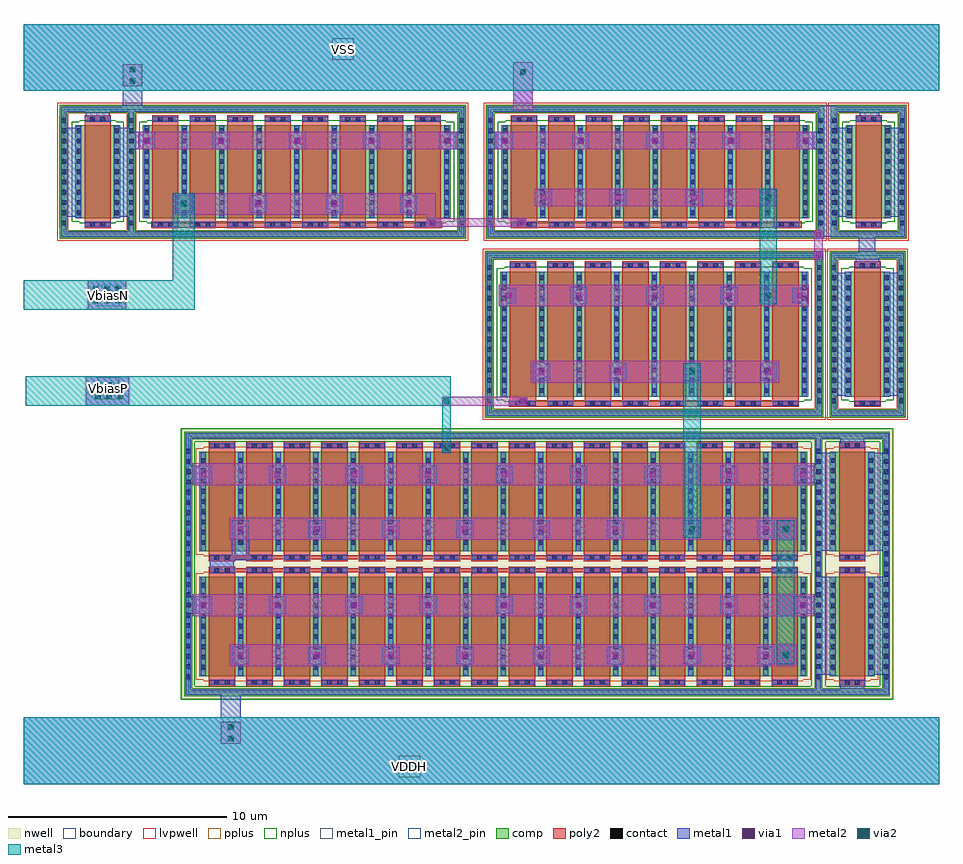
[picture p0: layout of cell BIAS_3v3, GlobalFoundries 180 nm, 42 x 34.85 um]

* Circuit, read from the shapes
.subckt BIAS_3v3 VDDH VSS VbiasN VbiasP
XM1 VSS VSS VSS VSS nfet_03v3 w=4.25u l=1.2u m=2
XM2 VbiasN VbiasN VSS VSS nfet_03v3 w=4.25u l=1.2u m=8
XM3 VbiasP VbiasP n1 VSS nfet_03v3 w=5.75u l=1.2u m=8
XM4 n1 VbiasN VSS VSS nfet_03v3 w=4.25u l=1.2u m=8
XM5 VSS VSS VSS VSS nfet_03v3 w=5.75u l=1.2u
XM6 VbiasP VbiasP VDDH VDDH pfet_03v3 w=4.56u l=1.2u m=32
XM7 VDDH VDDH VDDH VDDH pfet_03v3 w=4.56u l=1.2u m=2
.ends

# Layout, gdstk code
import gdstk
lib = gdstk.Library(unit=1e-6, precision=1e-09)
def R(c, l, rs):  # rectangles x0, y0, x1, y1
    for r in rs: c.add(gdstk.rectangle(r[:2], r[2:], *l))
def A(c, l, x, y, w, h, nx, ny, dx, dy):  # array of equal rectangles
    R(c, l, [(x+i*dx, y+j*dy, x+i*dx+w, y+j*dy+h) for i in range(nx) for j in range(ny)])
boundary = (0, 0)
nwell = (21, 0)
comp = (22, 0)
poly2 = (30, 0)
pplus = (31, 0)
nplus = (32, 0)
contact = (33, 0)
metal1 = (34, 0)
metal1_pin = (34, 10)
via1 = (35, 0)
metal2 = (36, 0)
metal2_pin = (36, 10)
via2 = (38, 0)
metal3 = (42, 0)
lvpwell = (204, 0)

nfet_03v3_w7xh28 = lib.new_cell('nfet_03v3_W7XH28')
R(nfet_03v3_w7xh28, boundary, [(-1.55,-3.625,1.55,3.625)])
R(nfet_03v3_w7xh28, comp, [(-1.73,-3.805,1.73,-3.445), (-1.73,-3.445,-1.37,3.445), (1.37,-3.445,1.73,3.445), (-1.04,-2.875,1.04,2.875), (-1.73,3.445,1.73,3.805)])
R(nfet_03v3_w7xh28, poly2, [(-0.6,-3.335,0.6,3.335)])
R(nfet_03v3_w7xh28, pplus, [(-1.75,-3.825,1.75,-3.425), (-1.75,-3.425,-1.34,-3.32), (1.34,-3.425,1.75,-3.32), (-1.76,-3.32,-1.34,3.32), (1.34,-3.32,1.76,3.32), (-1.75,3.32,-1.34,3.425), (1.34,3.32,1.75,3.425), (-1.75,3.425,1.75,3.825)])
R(nfet_03v3_w7xh28, nplus, [(-0.83,-3.105,0.83,-3.035), (-1.2,-3.035,1.2,3.035), (-0.83,3.035,0.83,3.105)])
A(nfet_03v3_w7xh28, contact, -1.66, -3.165, 0.22, 0.22, 1, 14, 0, 0.47)
A(nfet_03v3_w7xh28, contact, 1.44, -3.165, 0.22, 0.22, 1, 14, 0, 0.47)
A(nfet_03v3_w7xh28, contact, -0.97, -2.695, 0.22, 0.22, 1, 12, 0, 0.47)
A(nfet_03v3_w7xh28, contact, 0.75, -2.695, 0.22, 0.22, 1, 12, 0, 0.47)
R(nfet_03v3_w7xh28, contact, [(-0.345,-3.265,-0.125,-3.045), (0.125,-3.265,0.345,-3.045), (-0.345,3.045,-0.125,3.265), (0.125,3.045,0.345,3.265)])
R(nfet_03v3_w7xh28, metal1, [(-1.665,-3.74,1.665,-3.51), (-1.665,-3.51,-1.435,3.51), (1.435,-3.51,1.665,3.51), (-0.59,-3.27,0.59,-3.04), (-0.975,-2.865,-0.745,2.865), (0.745,-2.865,0.975,2.865), (-0.59,3.04,0.59,3.27), (-1.665,3.51,1.665,3.74)])
R(nfet_03v3_w7xh28, lvpwell, [(-1.85,-3.925,1.85,3.925)])

pfet_03v3_nfmjs6 = lib.new_cell('pfet_03v3_NFMJS6')
R(pfet_03v3_nfmjs6, boundary, [(-1.55,-5.89,1.55,5.89)])
R(pfet_03v3_nfmjs6, nwell, [(-1.85,-6.19,1.85,6.19)])
R(pfet_03v3_nfmjs6, comp, [(-1.73,-6.07,1.73,-5.71), (-1.73,-5.71,-1.37,5.71), (1.37,-5.71,1.73,5.71), (-1.04,-5.14,1.04,-0.58), (-1.04,0.58,1.04,5.14), (-1.73,5.71,1.73,6.07)])
R(pfet_03v3_nfmjs6, poly2, [(-0.6,-5.6,0.6,-0.12), (-0.6,0.12,0.6,5.6)])
R(pfet_03v3_nfmjs6, pplus, [(-0.83,-5.37,0.83,-5.3), (-1.2,-5.3,1.2,-0.42), (-0.83,-0.42,0.83,-0.35), (-0.83,0.35,0.83,0.42), (-1.2,0.42,1.2,5.3), (-0.83,5.3,0.83,5.37)])
R(pfet_03v3_nfmjs6, nplus, [(-1.89,-6.23,1.89,-5.6), (-1.89,-5.6,-1.26,5.6), (1.26,-5.6,1.89,5.6), (-1.89,5.6,1.89,6.23)])
A(pfet_03v3_nfmjs6, contact, -1.66, -5.28, 0.22, 0.22, 1, 23, 0, 0.47)
A(pfet_03v3_nfmjs6, contact, 1.44, -5.28, 0.22, 0.22, 1, 23, 0, 0.47)
A(pfet_03v3_nfmjs6, contact, -0.97, -4.85, 0.22, 0.22, 1, 9, 0, 0.47)
A(pfet_03v3_nfmjs6, contact, 0.75, -4.85, 0.22, 0.22, 1, 9, 0, 0.47)
A(pfet_03v3_nfmjs6, contact, -0.97, 0.87, 0.22, 0.22, 1, 9, 0, 0.47)
A(pfet_03v3_nfmjs6, contact, 0.75, 0.87, 0.22, 0.22, 1, 9, 0, 0.47)
R(pfet_03v3_nfmjs6, contact, [(-0.345,-5.53,-0.125,-5.31), (0.125,-5.53,0.345,-5.31), (-0.345,-0.41,-0.125,-0.19), (0.125,-0.41,0.345,-0.19), (-0.345,0.19,-0.125,0.41), (0.125,0.19,0.345,0.41), (-0.345,5.31,-0.125,5.53), (0.125,5.31,0.345,5.53)])
R(pfet_03v3_nfmjs6, metal1, [(-1.665,-6.005,1.665,-5.775), (-1.665,-5.775,-1.435,5.775), (1.435,-5.775,1.665,5.775), (-0.59,-5.535,0.59,-5.305), (-0.975,-5.13,-0.745,-0.59), (0.745,-5.13,0.975,-0.59), (-0.59,-0.415,0.59,-0.185), (-0.59,0.185,0.59,0.415), (-0.975,0.59,-0.745,5.13), (0.745,0.59,0.975,5.13), (-0.59,5.305,0.59,5.535), (-1.665,5.775,1.665,6.005)])

nfet_03v3_nvcl9g_1 = lib.new_cell('nfet_03v3_NVCL9G_1')
R(nfet_03v3_nvcl9g_1, boundary, [(-1.55,-2.875,1.55,2.875)])
R(nfet_03v3_nvcl9g_1, comp, [(-1.73,-3.055,1.73,-2.695), (-1.73,-2.695,-1.37,2.695), (1.37,-2.695,1.73,2.695), (-1.04,-2.125,1.04,2.125), (-1.73,2.695,1.73,3.055)])
R(nfet_03v3_nvcl9g_1, poly2, [(-0.6,-2.585,0.6,2.585)])
R(nfet_03v3_nvcl9g_1, pplus, [(-1.75,-3.075,1.75,-2.675), (-1.75,-2.675,-1.34,-2.57), (1.34,-2.675,1.75,-2.57), (-1.76,-2.57,-1.34,2.57), (1.34,-2.57,1.76,2.57), (-1.75,2.57,-1.34,2.675), (1.34,2.57,1.75,2.675), (-1.75,2.675,1.75,3.075)])
R(nfet_03v3_nvcl9g_1, nplus, [(-0.83,-2.355,0.83,-2.285), (-1.2,-2.285,1.2,2.285), (-0.83,2.285,0.83,2.355)])
A(nfet_03v3_nvcl9g_1, contact, -1.66, -2.46, 0.22, 0.22, 1, 11, 0, 0.47)
A(nfet_03v3_nvcl9g_1, contact, 1.44, -2.46, 0.22, 0.22, 1, 11, 0, 0.47)
A(nfet_03v3_nvcl9g_1, contact, -0.97, -1.99, 0.22, 0.22, 1, 9, 0, 0.47)
A(nfet_03v3_nvcl9g_1, contact, 0.75, -1.99, 0.22, 0.22, 1, 9, 0, 0.47)
R(nfet_03v3_nvcl9g_1, contact, [(-0.345,-2.515,-0.125,-2.295), (0.125,-2.515,0.345,-2.295), (-0.345,2.295,-0.125,2.515), (0.125,2.295,0.345,2.515)])
R(nfet_03v3_nvcl9g_1, metal1, [(-1.665,-2.99,1.665,-2.76), (-1.665,-2.76,-1.435,2.76), (1.435,-2.76,1.665,2.76), (-0.59,-2.52,0.59,-2.29), (-0.975,-2.115,-0.745,2.115), (0.745,-2.115,0.975,2.115), (-0.59,2.29,0.59,2.52), (-1.665,2.76,1.665,2.99)])
R(nfet_03v3_nvcl9g_1, lvpwell, [(-1.85,-3.175,1.85,3.175)])

nfet_03v3_nvcl9g_0 = lib.new_cell('nfet_03v3_NVCL9G_0')
R(nfet_03v3_nvcl9g_0, boundary, [(-1.55,-2.875,1.55,2.875)])
R(nfet_03v3_nvcl9g_0, comp, [(-1.73,-3.055,1.73,-2.695), (-1.73,-2.695,-1.37,2.695), (1.37,-2.695,1.73,2.695), (-1.04,-2.125,1.04,2.125), (-1.73,2.695,1.73,3.055)])
R(nfet_03v3_nvcl9g_0, poly2, [(-0.6,-2.585,0.6,2.585)])
R(nfet_03v3_nvcl9g_0, pplus, [(-1.75,-3.075,1.75,-2.675), (-1.75,-2.675,-1.34,-2.57), (1.34,-2.675,1.75,-2.57), (-1.76,-2.57,-1.34,2.57), (1.34,-2.57,1.76,2.57), (-1.75,2.57,-1.34,2.675), (1.34,2.57,1.75,2.675), (-1.75,2.675,1.75,3.075)])
R(nfet_03v3_nvcl9g_0, nplus, [(-0.83,-2.355,0.83,-2.285), (-1.2,-2.285,1.2,2.285), (-0.83,2.285,0.83,2.355)])
A(nfet_03v3_nvcl9g_0, contact, -1.66, -2.46, 0.22, 0.22, 1, 11, 0, 0.47)
A(nfet_03v3_nvcl9g_0, contact, 1.44, -2.46, 0.22, 0.22, 1, 11, 0, 0.47)
A(nfet_03v3_nvcl9g_0, contact, -0.97, -1.99, 0.22, 0.22, 1, 9, 0, 0.47)
A(nfet_03v3_nvcl9g_0, contact, 0.75, -1.99, 0.22, 0.22, 1, 9, 0, 0.47)
R(nfet_03v3_nvcl9g_0, contact, [(-0.345,-2.515,-0.125,-2.295), (0.125,-2.515,0.345,-2.295), (-0.345,2.295,-0.125,2.515), (0.125,2.295,0.345,2.515)])
R(nfet_03v3_nvcl9g_0, metal1, [(-1.665,-2.99,1.665,-2.76), (-1.665,-2.76,-1.435,2.76), (1.435,-2.76,1.665,2.76), (-0.59,-2.52,0.59,-2.29), (-0.975,-2.115,-0.745,2.115), (0.745,-2.115,0.975,2.115), (-0.59,2.29,0.59,2.52), (-1.665,2.76,1.665,2.99)])
R(nfet_03v3_nvcl9g_0, lvpwell, [(-1.85,-3.175,1.85,3.175)])

pfet_03v3_e7ryub = lib.new_cell('pfet_03v3_E7RYUB')
R(pfet_03v3_e7ryub, boundary, [(-14.45,-5.89,14.45,5.89)])
R(pfet_03v3_e7ryub, nwell, [(-14.75,-6.19,14.75,6.19)])
R(pfet_03v3_e7ryub, comp, [(-14.63,-6.07,14.63,-5.71), (-14.63,-5.71,-14.27,5.71), (14.27,-5.71,14.63,5.71), (-13.94,-5.14,13.94,-0.58), (-13.94,0.58,13.94,5.14), (-14.63,5.71,14.63,6.07)])
A(pfet_03v3_e7ryub, poly2, -13.5, -5.6, 1.2, 5.48, 16, 2, 1.72, 5.72)
R(pfet_03v3_e7ryub, pplus, [(-13.73,-5.37,13.73,-5.3), (-14.1,-5.3,14.1,-0.42), (-13.73,-0.42,13.73,-0.35), (-13.73,0.35,13.73,0.42), (-14.1,0.42,14.1,5.3), (-13.73,5.3,13.73,5.37)])
R(pfet_03v3_e7ryub, nplus, [(-14.79,-6.23,14.79,-5.6), (-14.79,-5.6,-14.16,5.6), (14.16,-5.6,14.79,5.6), (-14.79,5.6,14.79,6.23)])
A(pfet_03v3_e7ryub, contact, -14.56, -5.28, 0.22, 0.22, 1, 23, 0, 0.47)
A(pfet_03v3_e7ryub, contact, 14.34, -5.28, 0.22, 0.22, 1, 23, 0, 0.47)
A(pfet_03v3_e7ryub, contact, -13.87, -4.85, 0.22, 0.22, 17, 9, 1.72, 0.47)
A(pfet_03v3_e7ryub, contact, -13.87, 0.87, 0.22, 0.22, 17, 9, 1.72, 0.47)
R(pfet_03v3_e7ryub, contact, [(-13.245,-5.53,-13.025,-5.31), (-12.775,-5.53,-12.555,-5.31), (-11.525,-5.53,-11.305,-5.31), (-11.055,-5.53,-10.835,-5.31), (-9.805,-5.53,-9.585,-5.31), (-9.335,-5.53,-9.115,-5.31), (-8.085,-5.53,-7.865,-5.31), (-7.615,-5.53,-7.395,-5.31), (-6.365,-5.53,-6.145,-5.31), (-5.895,-5.53,-5.675,-5.31), (-4.645,-5.53,-4.425,-5.31), (-4.175,-5.53,-3.955,-5.31), (-2.925,-5.53,-2.705,-5.31), (-2.455,-5.53,-2.235,-5.31), (-1.205,-5.53,-0.985,-5.31), (-0.735,-5.53,-0.515,-5.31), (0.515,-5.53,0.735,-5.31), (0.985,-5.53,1.205,-5.31), (2.235,-5.53,2.455,-5.31), (2.705,-5.53,2.925,-5.31), (3.955,-5.53,4.175,-5.31), (4.425,-5.53,4.645,-5.31), (5.675,-5.53,5.895,-5.31), (6.145,-5.53,6.365,-5.31), (7.395,-5.53,7.615,-5.31), (7.865,-5.53,8.085,-5.31), (9.115,-5.53,9.335,-5.31), (9.585,-5.53,9.805,-5.31), (10.835,-5.53,11.055,-5.31), (11.305,-5.53,11.525,-5.31), (12.555,-5.53,12.775,-5.31), (13.025,-5.53,13.245,-5.31), (-13.245,-0.41,-13.025,-0.19), (-12.775,-0.41,-12.555,-0.19), (-11.525,-0.41,-11.305,-0.19), (-11.055,-0.41,-10.835,-0.19), (-9.805,-0.41,-9.585,-0.19), (-9.335,-0.41,-9.115,-0.19), (-8.085,-0.41,-7.865,-0.19), (-7.615,-0.41,-7.395,-0.19), (-6.365,-0.41,-6.145,-0.19), (-5.895,-0.41,-5.675,-0.19), (-4.645,-0.41,-4.425,-0.19), (-4.175,-0.41,-3.955,-0.19), (-2.925,-0.41,-2.705,-0.19), (-2.455,-0.41,-2.235,-0.19), (-1.205,-0.41,-0.985,-0.19), (-0.735,-0.41,-0.515,-0.19), (0.515,-0.41,0.735,-0.19), (0.985,-0.41,1.205,-0.19), (2.235,-0.41,2.455,-0.19), (2.705,-0.41,2.925,-0.19), (3.955,-0.41,4.175,-0.19), (4.425,-0.41,4.645,-0.19), (5.675,-0.41,5.895,-0.19), (6.145,-0.41,6.365,-0.19), (7.395,-0.41,7.615,-0.19), (7.865,-0.41,8.085,-0.19), (9.115,-0.41,9.335,-0.19), (9.585,-0.41,9.805,-0.19), (10.835,-0.41,11.055,-0.19), (11.305,-0.41,11.525,-0.19), (12.555,-0.41,12.775,-0.19), (13.025,-0.41,13.245,-0.19), (-13.245,0.19,-13.025,0.41), (-12.775,0.19,-12.555,0.41), (-11.525,0.19,-11.305,0.41), (-11.055,0.19,-10.835,0.41), (-9.805,0.19,-9.585,0.41), (-9.335,0.19,-9.115,0.41), (-8.085,0.19,-7.865,0.41), (-7.615,0.19,-7.395,0.41), (-6.365,0.19,-6.145,0.41), (-5.895,0.19,-5.675,0.41), (-4.645,0.19,-4.425,0.41), (-4.175,0.19,-3.955,0.41), (-2.925,0.19,-2.705,0.41), (-2.455,0.19,-2.235,0.41), (-1.205,0.19,-0.985,0.41), (-0.735,0.19,-0.515,0.41), (0.515,0.19,0.735,0.41), (0.985,0.19,1.205,0.41), (2.235,0.19,2.455,0.41), (2.705,0.19,2.925,0.41), (3.955,0.19,4.175,0.41), (4.425,0.19,4.645,0.41), (5.675,0.19,5.895,0.41), (6.145,0.19,6.365,0.41), (7.395,0.19,7.615,0.41), (7.865,0.19,8.085,0.41), (9.115,0.19,9.335,0.41), (9.585,0.19,9.805,0.41), (10.835,0.19,11.055,0.41), (11.305,0.19,11.525,0.41), (12.555,0.19,12.775,0.41), (13.025,0.19,13.245,0.41), (-13.245,5.31,-13.025,5.53), (-12.775,5.31,-12.555,5.53), (-11.525,5.31,-11.305,5.53), (-11.055,5.31,-10.835,5.53), (-9.805,5.31,-9.585,5.53), (-9.335,5.31,-9.115,5.53), (-8.085,5.31,-7.865,5.53), (-7.615,5.31,-7.395,5.53), (-6.365,5.31,-6.145,5.53), (-5.895,5.31,-5.675,5.53), (-4.645,5.31,-4.425,5.53), (-4.175,5.31,-3.955,5.53), (-2.925,5.31,-2.705,5.53), (-2.455,5.31,-2.235,5.53), (-1.205,5.31,-0.985,5.53), (-0.735,5.31,-0.515,5.53), (0.515,5.31,0.735,5.53), (0.985,5.31,1.205,5.53), (2.235,5.31,2.455,5.53), (2.705,5.31,2.925,5.53), (3.955,5.31,4.175,5.53), (4.425,5.31,4.645,5.53), (5.675,5.31,5.895,5.53), (6.145,5.31,6.365,5.53), (7.395,5.31,7.615,5.53), (7.865,5.31,8.085,5.53), (9.115,5.31,9.335,5.53), (9.585,5.31,9.805,5.53), (10.835,5.31,11.055,5.53), (11.305,5.31,11.525,5.53), (12.555,5.31,12.775,5.53), (13.025,5.31,13.245,5.53)])
A(pfet_03v3_e7ryub, metal1, -13.49, -5.535, 1.18, 0.23, 16, 2, 1.72, 5.12)
A(pfet_03v3_e7ryub, metal1, -13.875, -5.13, 0.23, 4.54, 17, 2, 1.72, 5.72)
A(pfet_03v3_e7ryub, metal1, -13.49, 0.185, 1.18, 0.23, 16, 2, 1.72, 5.12)
R(pfet_03v3_e7ryub, metal1, [(-14.565,-6.005,14.565,-5.775), (-14.565,-5.775,-14.335,5.775), (14.335,-5.775,14.565,5.775), (-14.565,5.775,14.565,6.005)])

nfet_03v3_kvbdj8 = lib.new_cell('nfet_03v3_KVBDJ8')
R(nfet_03v3_kvbdj8, boundary, [(-7.57,-3.625,7.57,3.625)])
R(nfet_03v3_kvbdj8, comp, [(-7.75,-3.805,7.75,-3.445), (-7.75,-3.445,-7.39,3.445), (7.39,-3.445,7.75,3.445), (-7.06,-2.875,7.06,2.875), (-7.75,3.445,7.75,3.805)])
A(nfet_03v3_kvbdj8, poly2, -6.62, -3.335, 1.2, 6.67, 8, 1, 1.72, 0)
R(nfet_03v3_kvbdj8, pplus, [(-7.77,-3.825,7.77,-3.425), (-7.77,-3.425,-7.36,-3.32), (7.36,-3.425,7.77,-3.32), (-7.78,-3.32,-7.36,3.32), (7.36,-3.32,7.78,3.32), (-7.77,3.32,-7.36,3.425), (7.36,3.32,7.77,3.425), (-7.77,3.425,7.77,3.825)])
R(nfet_03v3_kvbdj8, nplus, [(-6.85,-3.105,6.85,-3.035), (-7.22,-3.035,7.22,3.035), (-6.85,3.035,6.85,3.105)])
A(nfet_03v3_kvbdj8, contact, -7.68, -3.165, 0.22, 0.22, 1, 14, 0, 0.47)
A(nfet_03v3_kvbdj8, contact, 7.46, -3.165, 0.22, 0.22, 1, 14, 0, 0.47)
A(nfet_03v3_kvbdj8, contact, -6.99, -2.695, 0.22, 0.22, 9, 12, 1.72, 0.47)
R(nfet_03v3_kvbdj8, contact, [(-6.365,-3.265,-6.145,-3.045), (-5.895,-3.265,-5.675,-3.045), (-4.645,-3.265,-4.425,-3.045), (-4.175,-3.265,-3.955,-3.045), (-2.925,-3.265,-2.705,-3.045), (-2.455,-3.265,-2.235,-3.045), (-1.205,-3.265,-0.985,-3.045), (-0.735,-3.265,-0.515,-3.045), (0.515,-3.265,0.735,-3.045), (0.985,-3.265,1.205,-3.045), (2.235,-3.265,2.455,-3.045), (2.705,-3.265,2.925,-3.045), (3.955,-3.265,4.175,-3.045), (4.425,-3.265,4.645,-3.045), (5.675,-3.265,5.895,-3.045), (6.145,-3.265,6.365,-3.045), (-6.365,3.045,-6.145,3.265), (-5.895,3.045,-5.675,3.265), (-4.645,3.045,-4.425,3.265), (-4.175,3.045,-3.955,3.265), (-2.925,3.045,-2.705,3.265), (-2.455,3.045,-2.235,3.265), (-1.205,3.045,-0.985,3.265), (-0.735,3.045,-0.515,3.265), (0.515,3.045,0.735,3.265), (0.985,3.045,1.205,3.265), (2.235,3.045,2.455,3.265), (2.705,3.045,2.925,3.265), (3.955,3.045,4.175,3.265), (4.425,3.045,4.645,3.265), (5.675,3.045,5.895,3.265), (6.145,3.045,6.365,3.265)])
A(nfet_03v3_kvbdj8, metal1, -6.61, -3.27, 1.18, 0.23, 8, 2, 1.72, 6.31)
A(nfet_03v3_kvbdj8, metal1, -6.995, -2.865, 0.23, 5.73, 9, 1, 1.72, 0)
R(nfet_03v3_kvbdj8, metal1, [(-7.685,-3.74,7.685,-3.51), (-7.685,-3.51,-7.455,3.51), (7.455,-3.51,7.685,3.51), (-7.685,3.51,7.685,3.74)])
R(nfet_03v3_kvbdj8, lvpwell, [(-7.87,-3.925,7.87,3.925)])

nfet_03v3_v2uebs_0 = lib.new_cell('nfet_03v3_V2UEBS_0')
R(nfet_03v3_v2uebs_0, boundary, [(-7.57,-2.875,7.57,2.875)])
R(nfet_03v3_v2uebs_0, comp, [(-7.75,-3.055,7.75,-2.695), (-7.75,-2.695,-7.39,2.695), (7.39,-2.695,7.75,2.695), (-7.06,-2.125,7.06,2.125), (-7.75,2.695,7.75,3.055)])
A(nfet_03v3_v2uebs_0, poly2, -6.62, -2.585, 1.2, 5.17, 8, 1, 1.72, 0)
R(nfet_03v3_v2uebs_0, pplus, [(-7.77,-3.075,7.77,-2.675), (-7.77,-2.675,-7.36,-2.57), (7.36,-2.675,7.77,-2.57), (-7.78,-2.57,-7.36,2.57), (7.36,-2.57,7.78,2.57), (-7.77,2.57,-7.36,2.675), (7.36,2.57,7.77,2.675), (-7.77,2.675,7.77,3.075)])
R(nfet_03v3_v2uebs_0, nplus, [(-6.85,-2.355,6.85,-2.285), (-7.22,-2.285,7.22,2.285), (-6.85,2.285,6.85,2.355)])
A(nfet_03v3_v2uebs_0, contact, -7.68, -2.46, 0.22, 0.22, 1, 11, 0, 0.47)
A(nfet_03v3_v2uebs_0, contact, 7.46, -2.46, 0.22, 0.22, 1, 11, 0, 0.47)
A(nfet_03v3_v2uebs_0, contact, -6.99, -1.99, 0.22, 0.22, 9, 9, 1.72, 0.47)
R(nfet_03v3_v2uebs_0, contact, [(-6.365,-2.515,-6.145,-2.295), (-5.895,-2.515,-5.675,-2.295), (-4.645,-2.515,-4.425,-2.295), (-4.175,-2.515,-3.955,-2.295), (-2.925,-2.515,-2.705,-2.295), (-2.455,-2.515,-2.235,-2.295), (-1.205,-2.515,-0.985,-2.295), (-0.735,-2.515,-0.515,-2.295), (0.515,-2.515,0.735,-2.295), (0.985,-2.515,1.205,-2.295), (2.235,-2.515,2.455,-2.295), (2.705,-2.515,2.925,-2.295), (3.955,-2.515,4.175,-2.295), (4.425,-2.515,4.645,-2.295), (5.675,-2.515,5.895,-2.295), (6.145,-2.515,6.365,-2.295), (-6.365,2.295,-6.145,2.515), (-5.895,2.295,-5.675,2.515), (-4.645,2.295,-4.425,2.515), (-4.175,2.295,-3.955,2.515), (-2.925,2.295,-2.705,2.515), (-2.455,2.295,-2.235,2.515), (-1.205,2.295,-0.985,2.515), (-0.735,2.295,-0.515,2.515), (0.515,2.295,0.735,2.515), (0.985,2.295,1.205,2.515), (2.235,2.295,2.455,2.515), (2.705,2.295,2.925,2.515), (3.955,2.295,4.175,2.515), (4.425,2.295,4.645,2.515), (5.675,2.295,5.895,2.515), (6.145,2.295,6.365,2.515)])
A(nfet_03v3_v2uebs_0, metal1, -6.61, -2.52, 1.18, 0.23, 8, 2, 1.72, 4.81)
A(nfet_03v3_v2uebs_0, metal1, -6.995, -2.115, 0.23, 4.23, 9, 1, 1.72, 0)
R(nfet_03v3_v2uebs_0, metal1, [(-7.685,-2.99,7.685,-2.76), (-7.685,-2.76,-7.455,2.76), (7.455,-2.76,7.685,2.76), (-7.685,2.76,7.685,2.99)])
R(nfet_03v3_v2uebs_0, lvpwell, [(-7.87,-3.175,7.87,3.175)])

nfet_03v3_v2uebs_1 = lib.new_cell('nfet_03v3_V2UEBS_1')
R(nfet_03v3_v2uebs_1, boundary, [(-7.57,-2.875,7.57,2.875)])
R(nfet_03v3_v2uebs_1, comp, [(-7.75,-3.055,7.75,-2.695), (-7.75,-2.695,-7.39,2.695), (7.39,-2.695,7.75,2.695), (-7.06,-2.125,7.06,2.125), (-7.75,2.695,7.75,3.055)])
A(nfet_03v3_v2uebs_1, poly2, -6.62, -2.585, 1.2, 5.17, 8, 1, 1.72, 0)
R(nfet_03v3_v2uebs_1, pplus, [(-7.77,-3.075,7.77,-2.675), (-7.77,-2.675,-7.36,-2.57), (7.36,-2.675,7.77,-2.57), (-7.78,-2.57,-7.36,2.57), (7.36,-2.57,7.78,2.57), (-7.77,2.57,-7.36,2.675), (7.36,2.57,7.77,2.675), (-7.77,2.675,7.77,3.075)])
R(nfet_03v3_v2uebs_1, nplus, [(-6.85,-2.355,6.85,-2.285), (-7.22,-2.285,7.22,2.285), (-6.85,2.285,6.85,2.355)])
A(nfet_03v3_v2uebs_1, contact, -7.68, -2.46, 0.22, 0.22, 1, 11, 0, 0.47)
A(nfet_03v3_v2uebs_1, contact, 7.46, -2.46, 0.22, 0.22, 1, 11, 0, 0.47)
A(nfet_03v3_v2uebs_1, contact, -6.99, -1.99, 0.22, 0.22, 9, 9, 1.72, 0.47)
R(nfet_03v3_v2uebs_1, contact, [(-6.365,-2.515,-6.145,-2.295), (-5.895,-2.515,-5.675,-2.295), (-4.645,-2.515,-4.425,-2.295), (-4.175,-2.515,-3.955,-2.295), (-2.925,-2.515,-2.705,-2.295), (-2.455,-2.515,-2.235,-2.295), (-1.205,-2.515,-0.985,-2.295), (-0.735,-2.515,-0.515,-2.295), (0.515,-2.515,0.735,-2.295), (0.985,-2.515,1.205,-2.295), (2.235,-2.515,2.455,-2.295), (2.705,-2.515,2.925,-2.295), (3.955,-2.515,4.175,-2.295), (4.425,-2.515,4.645,-2.295), (5.675,-2.515,5.895,-2.295), (6.145,-2.515,6.365,-2.295), (-6.365,2.295,-6.145,2.515), (-5.895,2.295,-5.675,2.515), (-4.645,2.295,-4.425,2.515), (-4.175,2.295,-3.955,2.515), (-2.925,2.295,-2.705,2.515), (-2.455,2.295,-2.235,2.515), (-1.205,2.295,-0.985,2.515), (-0.735,2.295,-0.515,2.515), (0.515,2.295,0.735,2.515), (0.985,2.295,1.205,2.515), (2.235,2.295,2.455,2.515), (2.705,2.295,2.925,2.515), (3.955,2.295,4.175,2.515), (4.425,2.295,4.645,2.515), (5.675,2.295,5.895,2.515), (6.145,2.295,6.365,2.515)])
A(nfet_03v3_v2uebs_1, metal1, -6.61, -2.52, 1.18, 0.23, 8, 2, 1.72, 4.81)
A(nfet_03v3_v2uebs_1, metal1, -6.995, -2.115, 0.23, 4.23, 9, 1, 1.72, 0)
R(nfet_03v3_v2uebs_1, metal1, [(-7.685,-2.99,7.685,-2.76), (-7.685,-2.76,-7.455,2.76), (7.455,-2.76,7.685,2.76), (-7.685,2.76,7.685,2.99)])
R(nfet_03v3_v2uebs_1, lvpwell, [(-7.87,-3.175,7.87,3.175)])

bias_3v3 = lib.new_cell('BIAS_3v3')
R(bias_3v3, poly2, [(23.6,-8.6,50.5,-8.4), (23.6,-8,50.5,-7.8), (37.3,-1,50.6,-0.7), (20.9,7.2,34.24,7.5), (37.4,7.2,50.74,7.5)])
R(bias_3v3, pplus, [(51.74,-1.5,52,-0.995), (51.75,-0.995,51.99,5.645), (51.74,5.645,52,6.15), (51.79,6.7,52.05,7.205), (51.8,7.205,52.04,12.345), (51.79,12.345,52.05,12.85)])
A(bias_3v3, metal1, 28.1, -12.8, 0.8, 0.8, 3, 2, 3.4, 5.8)
A(bias_3v3, metal1, 36.7, -10.5, 0.8, 0.8, 3, 2, 3.4, 6)
R(bias_3v3, metal1, [(15.05,-18.3,57.05,-15.25), (24.1,-15.25,25,-14.085), (52.5,-14.1,53.6,-13.6), (51.5,-13.3,52.1,-8.8), (53.9,-13.3,54.5,-8.8), (24.6,-12.8,25.4,-12), (38.4,-12.8,39.2,-12), (41.8,-12.8,42.6,-12), (45.3,-12.8,46.1,-12), (48.7,-12.8,49.5,-12), (22.6,-10.5,23.7,-9.7), (26.3,-10.5,27.1,-9.7), (29.8,-10.5,30.6,-9.7), (33.2,-10.5,34,-9.7), (47,-10.5,47.8,-9.7), (50.4,-10.5,51.4,-9.7), (23.6,-8.5,24.7,-8.05), (23.6,-8.05,25.4,-7.9), (24.6,-7.9,25.4,-6.2), (51.5,-7.6,52.2,-3.1), (53.8,-7.6,54.5,-3.1), (38.4,-7,39.2,-6.2), (41.8,-7,42.6,-6.2), (45.3,-7,46.1,-6.2), (48.7,-7,49.5,-6.2), (22.6,-4.5,23.7,-3.7), (26.3,-4.5,27.1,-3.7), (29.8,-4.5,30.6,-3.7), (33.2,-4.5,34,-3.7), (47,-4.5,47.8,-3.7), (50.4,-4.5,51.4,-3.7), (34.25,-3.1,34.65,-2.7), (52.5,-2.9,53.6,-2.4), (17.9,-0.95,19.9,0.4), (37.75,-0.95,38.15,-0.55), (52.2,-0.5,52.9,3.4), (54.55,-0.5,55.25,5.15), (38.4,0.2,39.2,1), (41.9,0.2,42.7,1), (45.3,0.2,46.1,1), (48.8,0.2,49.6,1), (52.15,3.4,52.9,4.45), (18,3.45,19.75,4.8), (36.4,3.7,36.45,4.5), (37,3.7,37.15,3.75), (40.1,3.7,40.9,4.5), (43.6,3.7,44.4,4.5), (47,3.7,47.8,4.5), (50.75,3.7,50.95,3.75), (36.95,3.75,37.65,4.45), (50.3,3.75,51,4.45), (37,4.45,37.15,4.5), (50.75,4.45,50.95,4.5), (52.2,4.45,52.9,5.15), (51.5,5.35,51.65,5.75), (53.2,5.35,54.3,5.85), (51.3,5.75,51.7,6.15), (53.15,5.85,54.3,5.95), (53.35,5.95,54.1,6.85), (51.3,6.7,51.7,6.8), (51.3,6.8,52.3,7.1), (51.6,7.1,52.3,7.7), (33.55,7.25,33.95,7.65), (37.7,7.25,38.1,7.65), (16.8,7.7,17.6,11.8), (19.2,7.7,20,10.8), (51.6,7.7,52.9,11.8), (54.7,7.7,55.4,11.8), (22,7.9,22.8,8.7), (25.4,7.9,26.2,8.7), (28.9,7.9,29.7,8.7), (32.3,7.9,33.1,8.7), (38.5,8.2,39.3,9), (41.9,8.2,42.7,9), (45.4,8.2,46.2,9), (48.8,8.2,49.6,9), (19.2,10.8,21.1,11.6), (23.7,10.8,24.5,11.6), (27.2,10.8,28,11.6), (30.6,10.8,31.4,11.6), (34.1,10.8,35.2,11.6), (36.5,10.8,37.5,11.6), (40.2,10.8,41,11.6), (43.6,10.8,44.4,11.6), (47.1,10.8,47.9,11.6), (50.5,10.8,51.5,11.6), (19.2,11.6,20,11.8), (51.6,11.8,52.3,12.8), (17.9,12.1,19,12.6), (53.4,12.2,54.3,12.6), (37.5,12.6,38.4,13.5), (19.6,12.7,20.5,13.5), (15.05,13.5,57.05,16.55)])
R(bias_3v3, metal1_pin, [(32.25,-18,33.25,-17), (18.45,-0.65,19.45,0.35), (29.2,14.9,30.2,15.9)])
A(bias_3v3, via1, 28.37, -12.53, 0.26, 0.26, 3, 2, 3.4, 5.8)
A(bias_3v3, via1, 36.97, -10.23, 0.26, 0.26, 3, 2, 3.4, 6)
A(bias_3v3, via1, 18.325, -0.665, 0.26, 0.26, 3, 2, 0.52, 0.52)
A(bias_3v3, via1, 18.225, 3.735, 0.26, 0.26, 3, 2, 0.52, 0.52)
R(bias_3v3, via1, [(24.42,-16.34,24.68,-16.08), (24.42,-15.82,24.68,-15.56), (24.87,-12.53,25.13,-12.27), (38.67,-12.53,38.93,-12.27), (42.07,-12.53,42.33,-12.27), (45.57,-12.53,45.83,-12.27), (48.97,-12.53,49.23,-12.27), (23.17,-10.23,23.43,-9.97), (26.57,-10.23,26.83,-9.97), (30.07,-10.23,30.33,-9.97), (33.47,-10.23,33.73,-9.97), (47.27,-10.23,47.53,-9.97), (50.67,-10.23,50.93,-9.97), (24.87,-6.73,25.13,-6.47), (38.67,-6.73,38.93,-6.47), (42.07,-6.73,42.33,-6.47), (45.57,-6.73,45.83,-6.47), (48.97,-6.73,49.23,-6.47), (23.17,-4.23,23.43,-3.97), (26.57,-4.23,26.83,-3.97), (30.07,-4.23,30.33,-3.97), (33.47,-4.23,33.73,-3.97), (47.27,-4.23,47.53,-3.97), (50.67,-4.23,50.93,-3.97), (34.32,-3.03,34.58,-2.77), (37.82,-0.88,38.08,-0.62), (38.67,0.47,38.93,0.73), (42.17,0.47,42.43,0.73), (45.57,0.47,45.83,0.73), (49.07,0.47,49.33,0.73), (37.17,3.97,37.43,4.23), (40.37,3.97,40.63,4.23), (43.87,3.97,44.13,4.23), (47.27,3.97,47.53,4.23), (50.52,3.97,50.78,4.23), (51.37,5.82,51.63,6.08), (51.37,6.77,51.63,7.03), (33.62,7.32,33.88,7.58), (37.77,7.32,38.03,7.58), (22.27,8.17,22.53,8.43), (25.67,8.17,25.93,8.43), (29.17,8.17,29.43,8.43), (32.57,8.17,32.83,8.43), (38.77,8.47,39.03,8.73), (42.17,8.47,42.43,8.73), (45.67,8.47,45.93,8.73), (49.07,8.47,49.33,8.73), (20.57,11.07,20.83,11.33), (23.97,11.07,24.23,11.33), (27.47,11.07,27.73,11.33), (30.87,11.07,31.13,11.33), (34.37,11.07,34.63,11.33), (36.97,11.07,37.23,11.33), (40.47,11.07,40.73,11.33), (43.87,11.07,44.13,11.33), (47.37,11.07,47.63,11.33), (50.77,11.07,51.03,11.33), (19.92,13.81,20.18,14.07), (37.82,14.22,38.08,14.48), (19.92,14.33,20.18,14.59)])
R(bias_3v3, metal2, [(24.1,-16.45,25,-15.45), (24.5,-12.9,50.5,-11.9), (22.8,-10.6,51.3,-9.6), (24.5,-7.1,50.5,-6.1), (22.8,-4.6,51.3,-3.6), (34.25,-3.1,34.65,-2.7), (17.9,-0.95,19.9,0.4), (34.25,-0.95,38.15,-0.55), (38.3,0.1,49.7,1.1), (18,3.45,19.75,4.8), (36.85,3.6,51.05,4.6), (51.3,5.75,51.7,7.1), (33.55,7.25,38.1,7.65), (33.55,7.65,33.95,7.8), (21.9,7.8,33.95,8.8), (38.5,8.2,49.6,9), (20.3,10.8,34.9,11.6), (36.7,10.8,51.3,11.6), (37.5,12.6,38.4,14.8), (19.6,13.7,20.5,14.7)])
R(bias_3v3, metal2_pin, [(18.45,3.6,19.45,4.6)])
A(bias_3v3, via2, 18.325, -0.665, 0.26, 0.26, 3, 2, 0.52, 0.52)
A(bias_3v3, via2, 18.225, 3.735, 0.26, 0.26, 3, 2, 0.52, 0.52)
R(bias_3v3, via2, [(24.42,-16.34,24.68,-16.08), (24.42,-15.82,24.68,-15.56), (49.87,-12.53,50.13,-12.27), (45.57,-6.73,45.83,-6.47), (49.87,-6.73,50.13,-6.47), (34.32,-3.03,34.58,-2.77), (34.32,-0.88,34.58,-0.62), (45.57,0.47,45.83,0.73), (49.07,3.97,49.33,4.23), (22.27,8.17,22.53,8.43), (49.07,8.47,49.33,8.73), (19.92,13.81,20.18,14.07), (37.82,14.22,38.08,14.48), (19.92,14.33,20.18,14.59)])
R(bias_3v3, metal3, [(15.05,-18.3,57.05,-15.25), (49.6,-12.8,50.4,-6.2), (45.3,-7,46.1,1), (34.25,-3.1,34.65,-0.95), (15.15,-0.95,34.65,0.4), (15.05,3.45,22.9,4.8), (48.8,3.7,49.6,9), (21.9,4.8,22.9,8.8), (15.05,13.5,57.05,16.55)])
R(bias_3v3, lvpwell, [(51.1,3.6,51.15,4.6), (51.4,3.6,51.45,4.6)])
bias_3v3.add(gdstk.Reference(nfet_03v3_w7xh28, (53.75,2.325)))
bias_3v3.add(gdstk.Reference(pfet_03v3_nfmjs6, (53.05,-8.21)))
bias_3v3.add(gdstk.Reference(nfet_03v3_nvcl9g_1, (18.45,9.775)))
bias_3v3.add(gdstk.Reference(nfet_03v3_nvcl9g_0, (53.8,9.775)))
bias_3v3.add(gdstk.Reference(pfet_03v3_e7ryub, (37.05,-8.21)))
bias_3v3.add(gdstk.Reference(nfet_03v3_kvbdj8, (43.97,2.325)))
bias_3v3.add(gdstk.Reference(nfet_03v3_v2uebs_0, (44.02,9.775)))
bias_3v3.add(gdstk.Reference(nfet_03v3_v2uebs_1, (27.57,9.775)))
bias_3v3.add(gdstk.Label('VDDH', (32.75,-17.5), layer=34, texttype=10))
bias_3v3.add(gdstk.Label('VbiasP', (18.95,-0.15), layer=34, texttype=10))
bias_3v3.add(gdstk.Label('VbiasN', (18.95,4.1), layer=34, texttype=10))
bias_3v3.add(gdstk.Label('VSS', (29.7,15.4), layer=34, texttype=10))

lib.write_gds('BIAS_3v3.gds')
